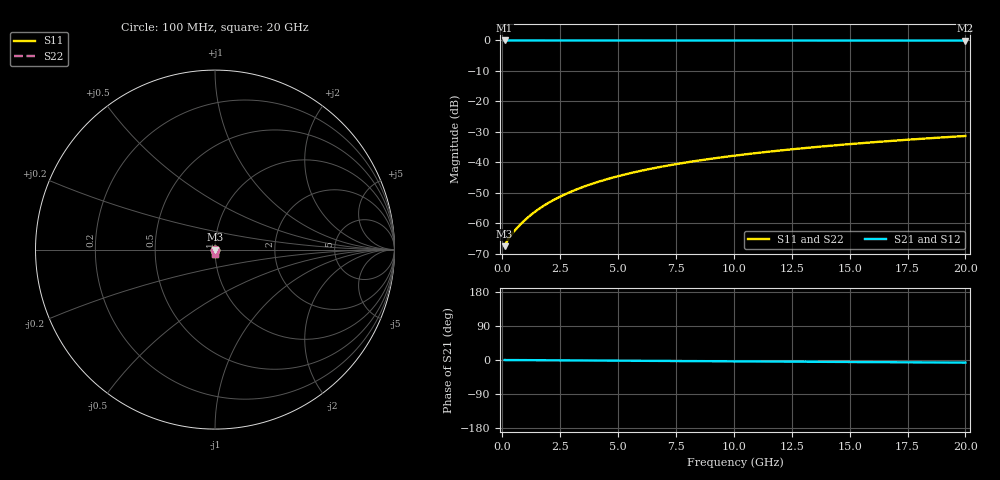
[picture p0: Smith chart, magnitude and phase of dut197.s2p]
! Touchstone file exported from HFSS 2026.1.0
!  File:  C:/ffzhzh/LocalFiles/Ansys_Project_Files/temp_train_BSMRDL_197_1782987662_6248.aedt
!  Generated:  06:22:10 PM Jul  2, 2026
!  Design:  BSMRDL
!  Project:  temp_train_BSMRDL_197_1782987662_6248
! Variables:
!  h_bsmrdl = 5.69um
!  h_ox = 20um
!  h_rdl = 5um
!  h_sub = 80um
!  h_tmrdl = 5um
!  h_tsv = 80um
!  h_via = 3um
!  l_bsmrdl = 110.84um
!  l_sub = 510.84um
!  l_tmrdl = 200um
!  m_sub = 200um
!  pitch = 32.47um
!  r_tsv = 6um
!  s_tmrdl = 10um
!  w_bsmrdl = 29.1um
!  w_sub = 500um
!  w_tmrdl = 12um
!  x_tsv_center1 = 206um
!  x_tsv_center2 = 345.94um
!  x_tsv_center3 = 557.94um
!  x_tsv_center4 = 697.88um
!  x_tsv_center5 = 909.88um
!  x_tsv_center6 = 1049.82um
# GHz S MA R 50.000000
! Terminal data exported
! Port[1] = BSM_RDL1_1_T1
! Port[2] = BSM_RDL1_1_T2
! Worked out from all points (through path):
!   200 points, 100 MHz to 20 GHz, reference 50 ohm
!   highest |S21| = 0.00 dB at 100 MHz (marker M1); lowest = 0.0 dB at 20 GHz (marker M2)
!   lowest |S11| = -67.4 dB at 100 MHz (marker M3), VSWR 1.00, Z = 50 + j0.00166 ohm
!   |S11| at or under -10 dB: start of sweep to end of sweep
!   |S22| runs from -67.4 to -31.3 dB; largest |S21 - S12| = 4.1e-15
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0.1  0.0004248 2.2  0.9996 -0.0  0.9996 -0.0  0.0004248 2.2
! Gamma 0 0 0 0
! Port Impedance 50 0 50 0
0.2  0.0005107 -4.4  0.9995 -0.1  0.9995 -0.1  0.0005107 -4.4
0.3  0.0005894 -13.5  0.9994 -0.1  0.9994 -0.1  0.0005894 -13.5
0.4  0.0006631 -22.0  0.9994 -0.2  0.9994 -0.2  0.0006631 -22.0
0.6  0.0008146 -35.1  0.9993 -0.2  0.9993 -0.2  0.0008146 -35.1
0.8  0.00098 -44.1  0.9993 -0.3  0.9993 -0.3  0.00098 -44.1
1  0.001159 -50.4  0.9993 -0.4  0.9993 -0.4  0.001159 -50.4
1.4  0.001546 -58.2  0.9992 -0.5  0.9992 -0.5  0.001546 -58.2
1.8  0.001966 -62.8  0.9991 -0.7  0.9991 -0.7  0.001966 -62.8
2.3  0.002525 -66.3  0.9989 -0.8  0.9989 -0.8  0.002525 -66.3
2.9  0.003239 -69.0  0.9988 -1.1  0.9988 -1.1  0.003239 -69.0
3.5  0.003988 -71.0  0.9986 -1.3  0.9986 -1.3  0.003988 -71.0
4.2  0.004896 -72.9  0.9984 -1.5  0.9984 -1.5  0.004896 -72.9
5  0.005962 -74.6  0.9982 -1.8  0.9982 -1.8  0.005962 -74.6
5.9  0.007185 -76.3  0.998 -2.1  0.998 -2.1  0.007185 -76.3
6.8  0.008424 -77.7  0.9978 -2.4  0.9978 -2.4  0.008424 -77.7
8.3  0.01051 -79.7  0.9975 -2.9  0.9975 -2.9  0.01051 -79.7
10.1  0.01304 -81.7  0.9972 -3.6  0.9972 -3.6  0.01304 -81.7
11.7  0.0153 -83.1  0.997 -4.1  0.997 -4.1  0.0153 -83.1
13.4  0.01771 -84.5  0.9967 -4.7  0.9967 -4.7  0.01771 -84.5
16.7  0.02244 -86.7  0.9962 -5.8  0.9962 -5.8  0.02244 -86.7
20  0.02719 -88.6  0.9957 -7.0  0.9957 -7.0  0.02719 -88.6
